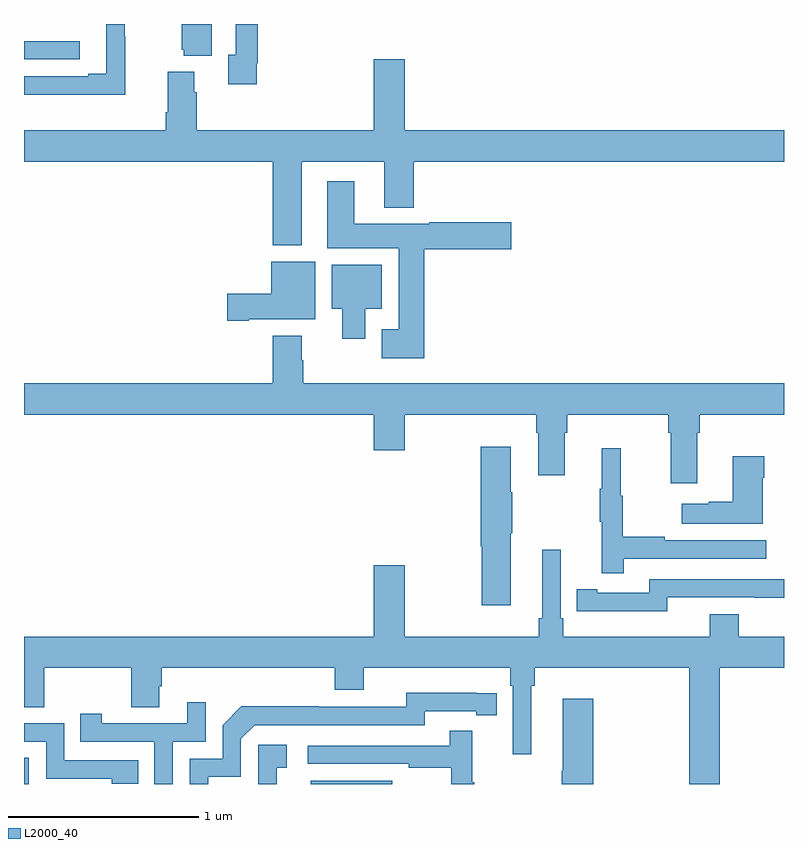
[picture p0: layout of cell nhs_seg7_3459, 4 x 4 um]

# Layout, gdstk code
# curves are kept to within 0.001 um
import gdstk
lib = gdstk.Library(unit=1e-6, precision=1e-09)
def R(c, l, rs):  # rectangles x0, y0, x1, y1
    for r in rs: c.add(gdstk.rectangle(r[:2], r[2:], *l))
def P(c, l, *ps):  # polygons
    for p in ps: c.add(gdstk.Polygon(p, *l))
L2000_40 = (2000, 40)

nhs_seg7_3459 = lib.new_cell('nhs_seg7_3459')
R(nhs_seg7_3459, L2000_40, [(331,1004,331.026,1004.137), (332.51,1004,332.938,1004.017), (331,1007.814,331.294,1007.91)])
P(nhs_seg7_3459, L2000_40, [(331.533,1007.933),(331.53,1007.933),(331.53,1008),(331.434,1008),(331.434,1007.737),(331.337,1007.737),(331.337,1007.724),(331,1007.724),(331,1007.628),(331.069,1007.628),(331.069,1007.627),(331.533,1007.627)],
  [(332.224,1007.794),(332.231,1007.794),(332.231,1008),(332.115,1008),(332.115,1007.838),(332.075,1007.838),(332.075,1007.682),(332.224,1007.682)],
  [(331.987,1008),(331.829,1008),(331.829,1007.865),(331.841,1007.865),(331.841,1007.834),(331.987,1007.834)],
  [(332.461,1007.276),(332.897,1007.276),(332.897,1007.033),(333.05,1007.033),(333.05,1007.276),(335,1007.276),(335,1007.44),(333.004,1007.44),(333.004,1007.815),(332.84,1007.815),(332.84,1007.44),(331.91,1007.44),(331.91,1007.642),(331.897,1007.642),(331.897,1007.749),(331.757,1007.749),(331.757,1007.536),(331.745,1007.536),(331.745,1007.44),(331,1007.44),(331,1007.276),(332.309,1007.276),(332.309,1006.835),(332.461,1006.835)],
  [(333.107,1006.814),(333.565,1006.814),(333.565,1006.956),(333.133,1006.956),(333.133,1006.948),(332.737,1006.948),(332.737,1007.173),(332.597,1007.173),(332.597,1006.82),(332.972,1006.82),(332.972,1006.393),(332.882,1006.393),(332.882,1006.241),(333.107,1006.241)],
  [(332.182,1006.445),(332.533,1006.445),(332.533,1006.75),(332.3,1006.75),(332.3,1006.58),(332.07,1006.58),(332.07,1006.438),(332.182,1006.438)],
  [(332.797,1006.502),(332.884,1006.502),(332.884,1006.732),(332.621,1006.732),(332.621,1006.502),(332.675,1006.502),(332.675,1006.344),(332.797,1006.344)],
  [(334.543,1005.848),(334.556,1005.848),(334.556,1005.944),(335,1005.944),(335,1006.108),(332.469,1006.108),(332.469,1006.229),(332.461,1006.229),(332.461,1006.36),(332.309,1006.36),(332.309,1006.108),(331,1006.108),(331,1005.944),(332.84,1005.944),(332.84,1005.756),(333.004,1005.756),(333.004,1005.944),(333.695,1005.944),(333.695,1005.848),(333.707,1005.848),(333.707,1005.624),(333.847,1005.624),(333.847,1005.848),(333.86,1005.848),(333.86,1005.944),(334.391,1005.944),(334.391,1005.848),(334.403,1005.848),(334.403,1005.582),(334.543,1005.582)],
  [(333.562,1005.319),(333.57,1005.319),(333.57,1005.536),(333.562,1005.536),(333.562,1005.775),(333.404,1005.775),(333.404,1005.252),(333.409,1005.252),(333.409,1004.94),(333.562,1004.94)],
  [(334.157,1005.186),(334.906,1005.186),(334.906,1005.282),(334.373,1005.282),(334.373,1005.302),(334.15,1005.302),(334.15,1005.516),(334.142,1005.516),(334.142,1005.766),(334.04,1005.766),(334.04,1005.553),(334.029,1005.553),(334.029,1005.379),(334.04,1005.379),(334.04,1005.108),(334.157,1005.108)],
  [(334.888,1005.611),(334.896,1005.611),(334.896,1005.724),(334.73,1005.724),(334.73,1005.485),(334.604,1005.485),(334.604,1005.475),(334.461,1005.475),(334.461,1005.371),(334.888,1005.371)],
  [(334.662,1004.612),(335,1004.612),(335,1004.776),(334.763,1004.776),(334.763,1004.893),(334.61,1004.893),(334.61,1004.776),(333.839,1004.776),(333.839,1004.872),(333.825,1004.872),(333.825,1005.232),(333.728,1005.232),(333.728,1004.872),(333.709,1004.872),(333.709,1004.776),(333.004,1004.776),(333.004,1005.151),(332.84,1005.151),(332.84,1004.776),(331,1004.776),(331,1004.404),(331.107,1004.404),(331.107,1004.612),(331.564,1004.612),(331.564,1004.404),(331.711,1004.404),(331.711,1004.514),(331.724,1004.514),(331.724,1004.612),(332.636,1004.612),(332.636,1004.495),(332.788,1004.495),(332.788,1004.612),(333.56,1004.612),(333.56,1004.516),(333.573,1004.516),(333.573,1004.157),(333.67,1004.157),(333.67,1004.516),(333.689,1004.516),(333.689,1004.612),(334.502,1004.612),(334.502,1004),(334.662,1004)],
  [(334.386,1004.982),(334.846,1004.982),(334.846,1004.981),(335,1004.981),(335,1005.078),(334.29,1005.078),(334.29,1005.006),(334.018,1005.006),(334.018,1005.026),(333.91,1005.026),(333.91,1004.91),(334.018,1004.91),(334.018,1004.909),(334.386,1004.909)],
  [(331.969,1004.037),(332.142,1004.037),(332.142,1004.238),(332.214,1004.31),(333.108,1004.31),(333.108,1004.382),(333.38,1004.382),(333.38,1004.362),(333.488,1004.362),(333.488,1004.478),(333.012,1004.479),(333.012,1004.406),(332.552,1004.406),(332.552,1004.408),(332.144,1004.408),(332.046,1004.31),(332.046,1004.133),(331.872,1004.133),(331.872,1004),(331.969,1004)],
  [(333.995,1004.449),(333.836,1004.449),(333.836,1004.069),(333.829,1004.069),(333.829,1004),(333.995,1004)],
  [(331.782,1004.223),(331.956,1004.223),(331.956,1004.431),(331.859,1004.431),(331.859,1004.319),(331.408,1004.319),(331.408,1004.371),(331.297,1004.371),(331.297,1004.223),(331.686,1004.223),(331.686,1004),(331.782,1004)],
  [(331.601,1004.124),(331.212,1004.124),(331.212,1004.319),(331,1004.319),(331,1004.223),(331.116,1004.223),(331.116,1004.028),(331.461,1004.028),(331.461,1004.001),(331.601,1004.001)],
  [(333.37,1004.009),(333.359,1004.009),(333.359,1004.281),(333.241,1004.281),(333.241,1004.202),(332.493,1004.202),(332.493,1004.106),(333.025,1004.106),(333.025,1004.086),(333.249,1004.086),(333.249,1004),(333.37,1004)],
  [(332.33,1004.085),(332.383,1004.085),(332.383,1004.206),(332.232,1004.206),(332.232,1004),(332.33,1004)])

lib.write_gds('nhs_seg7_3459.gds')
